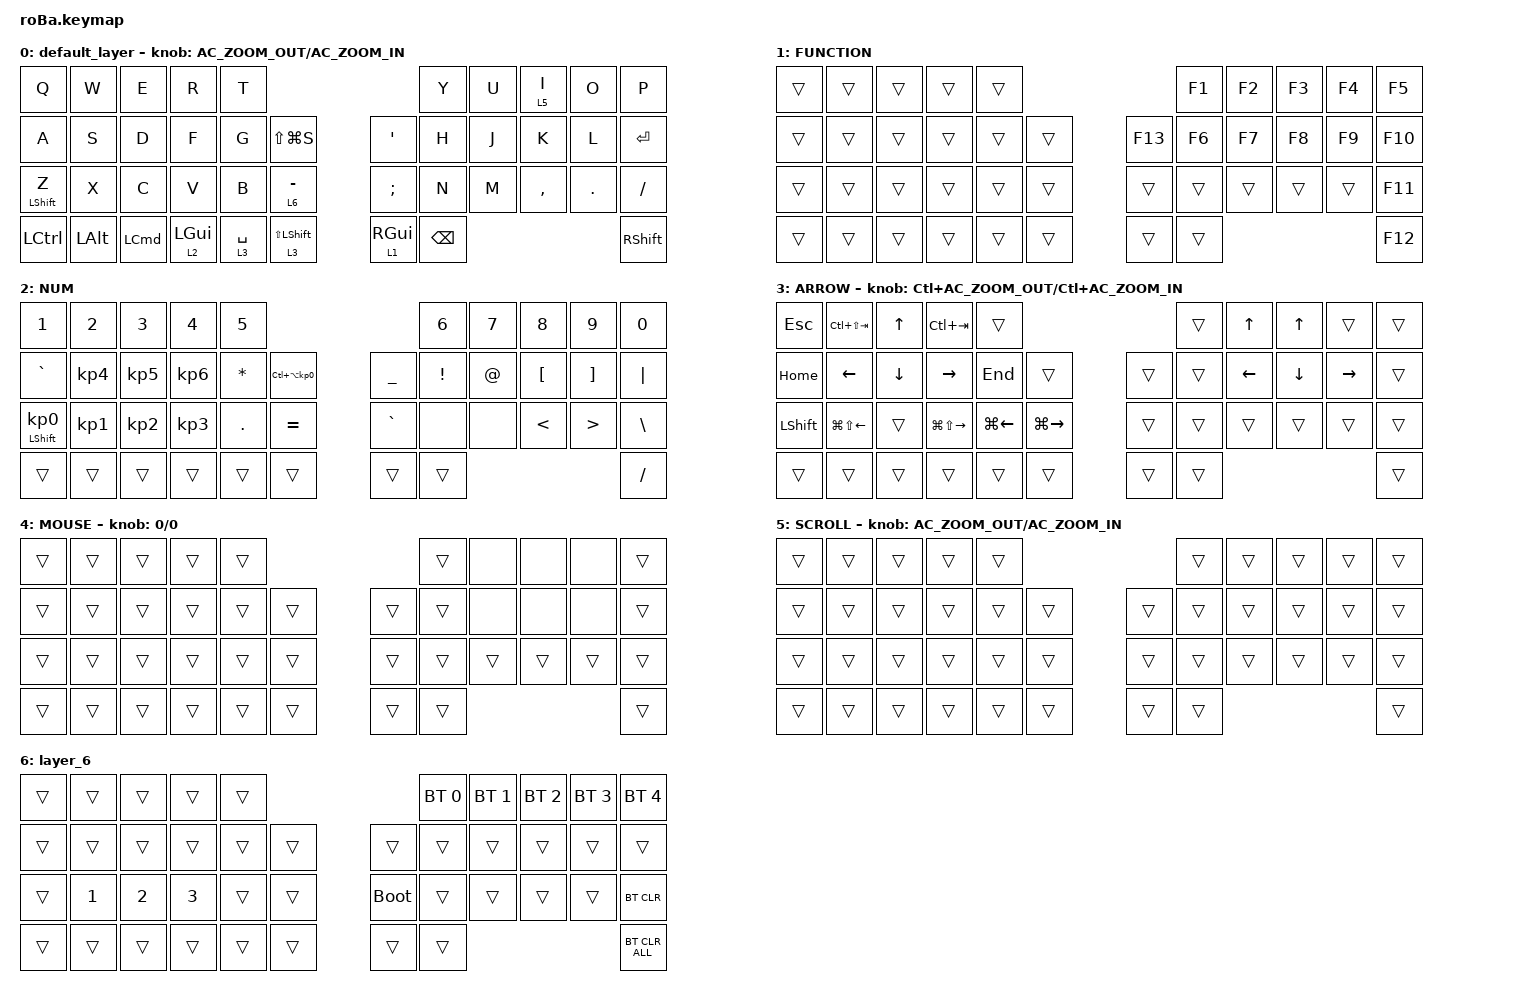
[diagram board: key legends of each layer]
#include <behaviors.dtsi>
#include <dt-bindings/zmk/bt.h>
#include <dt-bindings/zmk/keys.h>
#include <dt-bindings/zmk/pointing.h>

&mt {
    flavor = "balanced";
    quick-tap-ms = <0>;
};

&trackball {
    automouse-layer = <4>;
    scroll-layers = <5>;

    // arrows {
    //     layers = <3>;
    //     bindings =
    //         <&kp RIGHT_ARROW>,
    //         <&kp LEFT_ARROW>,
    //         <&kp UP_ARROW>,
    //         <&kp DOWN_ARROW>;
    //     tick = <10>;
    //     wait-ms = <5>;
    //     tap-ms = <5>;
    // };
};

/ {
    combos {
        compatible = "zmk,combos";

        tab {
            bindings = <&kp TAB>;
            key-positions = <11 10>;
        };

        shift_tab {
            bindings = <&kp LS(TAB)>;
            key-positions = <12 11>;
        };

        browser-right {
            bindings = <&kp LS(LG(RIGHT_BRACKET))>;
            key-positions = <21 20>;
        };

        double_quotation {
            bindings = <&kp DOUBLE_QUOTES>;
            key-positions = <32 33>;
        };

        eq {
            bindings = <&kp EQUAL>;
            key-positions = <24 25>;
        };

        backspacekey {
            bindings = <&kp BACKSPACE>;
            key-positions = <9 8>;
        };

        escapekey {
            bindings = <&kp ESCAPE>;
            key-positions = <0 1>;
        };

        browser-left {
            bindings = <&kp LS(LG(LEFT_BRACKET))>;
            key-positions = <20 19>;
        };

        leftClick {
            bindings = <&mkp MB1>;
            key-positions = <7 6>;
        };

        rightClick {
            bindings = <&mkp MB2>;
            key-positions = <7 8>;
        };
    };

    macros {
        to_layer_0: to_layer_0 {
            compatible = "zmk,behavior-macro-one-param";
            #binding-cells = <1>;
            bindings = <&to 0 &macro_param_1to1 &kp MACRO_PLACEHOLDER>;
            label = "TO_LAYER_0";
        };
    };

    behaviors {
        lt_to_layer_0: lt_to_layer_0 {
            compatible = "zmk,behavior-hold-tap";
            label = "LAYER_TAP_TO_0";
            bindings = <&mo>, <&to_layer_0>;

            #binding-cells = <2>;
            tapping-term-ms = <200>;
        };
    };

    keymap {
        compatible = "zmk,keymap";

        default_layer {
            bindings = <
&kp Q             &kp W         &kp E             &kp R                      &kp T                                                                         &kp Y          &kp U  &lt 5 I    &kp O    &kp P
&kp A             &kp S         &kp D             &kp F                      &kp G        &kp LS(LG(S))                        &kp APOS                    &kp H          &kp J  &kp K      &kp L    &kp ENTER
&mt LEFT_SHIFT Z  &kp X         &kp C             &kp V                      &kp B        &lt 6 MINUS                          &kp SEMICOLON               &kp N          &kp M  &kp COMMA  &kp DOT  &kp SLASH
&kp LCTRL         &kp LEFT_ALT  &kp LEFT_COMMAND  &lt_to_layer_0 2 LEFT_GUI  &lt 3 SPACE  &lt_to_layer_0 3 LS(LEFT_SHIFT)      &lt_to_layer_0 1 RIGHT_GUI  &kp BACKSPACE                             &kp RIGHT_SHIFT
            >;

            sensor-bindings = <&inc_dec_kp C_AC_ZOOM_OUT C_AC_ZOOM_IN>;
        };

        FUNCTION {
            bindings = <
&trans  &trans  &trans  &trans  &trans                       &kp F1  &kp F2  &kp F3  &kp F4  &kp F5
&trans  &trans  &trans  &trans  &trans  &trans      &kp F13  &kp F6  &kp F7  &kp F8  &kp F9  &kp F10
&trans  &trans  &trans  &trans  &trans  &trans      &trans   &trans  &trans  &trans  &trans  &kp F11
&trans  &trans  &trans  &trans  &trans  &trans      &trans   &trans                          &kp F12
            >;
        };

        NUM {
            bindings = <
&kp NUMBER_1                &kp NUMBER_2     &kp NUMBER_3     &kp NUMBER_4     &kp N5                                                     &kp NUMBER_6     &kp N7       &kp N8            &kp N9             &kp N0
&kp GRAVE                   &kp KP_NUMBER_4  &kp KP_NUMBER_5  &kp KP_NUMBER_6  &kp ASTERISK  &kp LC(LA(KP_NUMBER_0))      &kp UNDERSCORE  &kp EXCLAMATION  &kp AT_SIGN  &kp LEFT_BRACKET  &kp RIGHT_BRACKET  &kp PIPE
&mt LEFT_SHIFT KP_NUMBER_0  &kp KP_NUMBER_1  &kp KP_NUMBER_2  &kp KP_NUMBER_3  &kp PERIOD    &kp EQUAL                    &kp GRAVE       &none            &none        &kp LESS_THAN     &kp GREATER_THAN   &kp BACKSLASH
&trans                      &trans           &trans           &trans           &trans        &trans                       &trans          &trans                                                             &kp SLASH
            >;
        };

        ARROW {
            bindings = <
&kp ESCAPE      &kp LC(LS(TAB))         &kp UP_ARROW    &kp LC(TAB)              &trans                                               &trans  &kp UP_ARROW    &kp UP_ARROW    &trans     &trans
&kp HOME        &kp LEFT_ARROW          &kp DOWN_ARROW  &kp RIGHT_ARROW          &kp END             &trans                   &trans  &trans  &kp LEFT_ARROW  &kp DOWN_ARROW  &kp RIGHT  &trans
&kp LEFT_SHIFT  &kp LG(LS(LEFT_ARROW))  &trans          &kp LG(LS(RIGHT_ARROW))  &kp LG(LEFT_ARROW)  &kp LG(RIGHT_ARROW)      &trans  &trans  &trans          &trans          &trans     &trans
&trans          &trans                  &trans          &trans                   &trans              &trans                   &trans  &trans                                             &trans
            >;

            sensor-bindings = <&inc_dec_kp LC(C_AC_ZOOM_OUT) LC(C_AC_ZOOM_IN)>;
        };

        MOUSE {
            bindings = <
&trans  &trans  &trans  &trans  &trans                      &trans  &none   &none   &none   &trans
&trans  &trans  &trans  &trans  &trans  &trans      &trans  &trans  &none   &none   &none   &trans
&trans  &trans  &trans  &trans  &trans  &trans      &trans  &trans  &trans  &trans  &trans  &trans
&trans  &trans  &trans  &trans  &trans  &trans      &trans  &trans                          &trans
            >;

            sensor-bindings = <&inc_dec_kp 0 0>;
        };

        SCROLL {
            bindings = <
&trans  &trans  &trans  &trans  &trans                      &trans  &trans  &trans  &trans  &trans
&trans  &trans  &trans  &trans  &trans  &trans      &trans  &trans  &trans  &trans  &trans  &trans
&trans  &trans  &trans  &trans  &trans  &trans      &trans  &trans  &trans  &trans  &trans  &trans
&trans  &trans  &trans  &trans  &trans  &trans      &trans  &trans                          &trans
            >;

            sensor-bindings = <&inc_dec_kp C_AC_ZOOM_OUT C_AC_ZOOM_IN>;
        };

        layer_6 {
            bindings = <
&trans  &trans        &trans        &trans        &trans                           &bt BT_SEL 0  &bt BT_SEL 1  &bt BT_SEL 2  &bt BT_SEL 3  &bt BT_SEL 4
&trans  &trans        &trans        &trans        &trans  &trans      &trans       &trans        &trans        &trans        &trans        &trans
&trans  &kp NUMBER_1  &kp NUMBER_2  &kp NUMBER_3  &trans  &trans      &bootloader  &trans        &trans        &trans        &trans        &bt BT_CLR
&trans  &trans        &trans        &trans        &trans  &trans      &trans       &trans                                                  &bt BT_CLR_ALL
            >;
        };
    };
};
